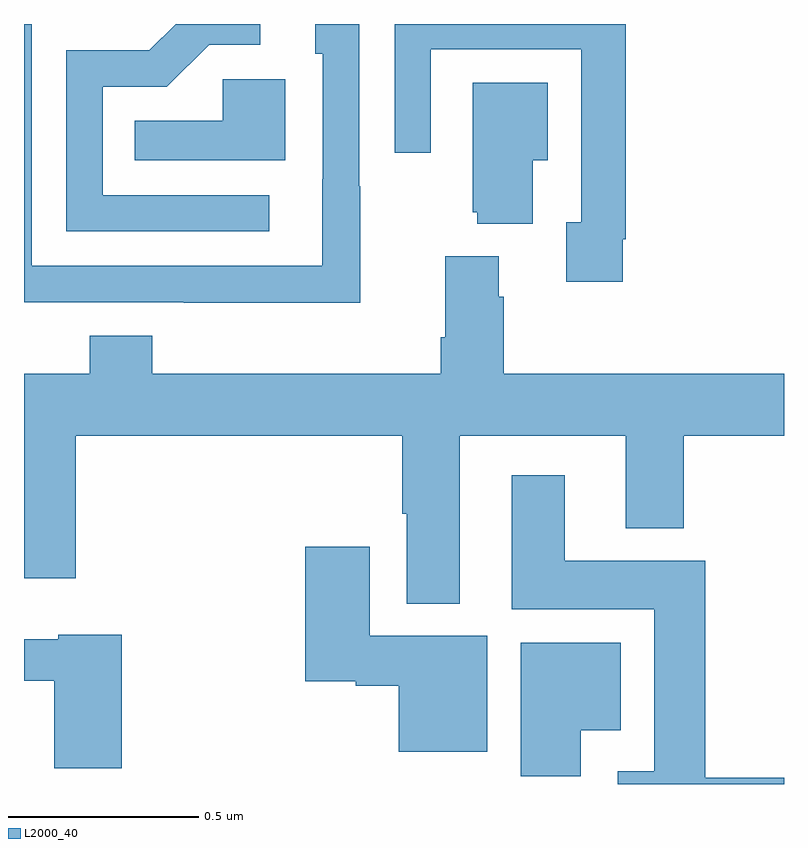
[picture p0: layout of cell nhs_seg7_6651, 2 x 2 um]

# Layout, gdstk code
import gdstk
lib = gdstk.Library(unit=1e-6, precision=1e-09)
def P(c, l, *ps):  # polygons
    for p in ps: c.add(gdstk.Polygon(p, *l))
L2000_40 = (2000, 40)

nhs_seg7_6651 = lib.new_cell('nhs_seg7_6651')
P(nhs_seg7_6651, L2000_40, [(201.646,1034.55),(201.207,1034.55),(201.207,1034.835),(201.376,1034.835),(201.487,1034.946),(201.622,1034.946),(201.622,1035),(201.399,1035),(201.33,1034.931),(201.111,1034.931),(201.111,1034.454),(201.646,1034.454)],
  [(201.885,1034.573),(201.882,1034.573),(201.882,1035),(201.767,1035),(201.767,1034.922),(201.786,1034.922),(201.786,1034.591),(201.785,1034.591),(201.785,1034.364),(201.021,1034.364),(201.021,1035),(201,1035),(201,1034.268),(201.421,1034.268),(201.421,1034.267),(201.885,1034.267)],
  [(202.576,1034.434),(202.583,1034.434),(202.583,1035),(201.975,1035),(201.975,1034.661),(202.071,1034.661),(202.071,1034.934),(202.467,1034.934),(202.467,1034.478),(202.427,1034.478),(202.427,1034.322),(202.576,1034.322)],
  [(201.688,1034.854),(201.523,1034.854),(201.523,1034.746),(201.292,1034.746),(201.292,1034.642),(201.688,1034.642)],
  [(202.339,1034.642),(202.378,1034.642),(202.378,1034.845),(202.181,1034.845),(202.181,1034.505),(202.193,1034.505),(202.193,1034.474),(202.339,1034.474)],
  [(202.249,1034.282),(202.249,1034.389),(202.109,1034.389),(202.109,1034.176),(202.097,1034.176),(202.097,1034.08),(201.338,1034.08),(201.338,1034.179),(201.173,1034.179),(201.173,1034.08),(201,1034.08),(201,1033.542),(201.136,1033.542),(201.136,1033.916),(201.995,1033.916),(201.995,1033.711),(202.007,1033.711),(202.007,1033.475),(202.147,1033.475),(202.147,1033.916),(202.583,1033.916),(202.583,1033.673),(202.736,1033.673),(202.736,1033.916),(203,1033.916),(203,1034.08),(202.262,1034.08),(202.262,1034.282)],
  [(203,1033.016),(202.793,1033.016),(202.793,1033.588),(202.423,1033.588),(202.423,1033.813),(202.283,1033.813),(202.283,1033.46),(202.658,1033.46),(202.658,1033.033),(202.563,1033.033),(202.563,1033),(203,1033)],
  [(202.219,1033.39),(201.91,1033.39),(201.91,1033.624),(201.74,1033.624),(201.74,1033.271),(201.873,1033.271),(201.873,1033.259),(201.986,1033.259),(201.986,1033.085),(202.219,1033.085)],
  [(201.257,1033.393),(201.09,1033.393),(201.09,1033.381),(201,1033.381),(201,1033.272),(201.079,1033.272),(201.079,1033.041),(201.257,1033.041)],
  [(202.465,1033.142),(202.57,1033.142),(202.57,1033.372),(202.307,1033.372),(202.307,1033.02),(202.465,1033.02)])

lib.write_gds('nhs_seg7_6651.gds')
